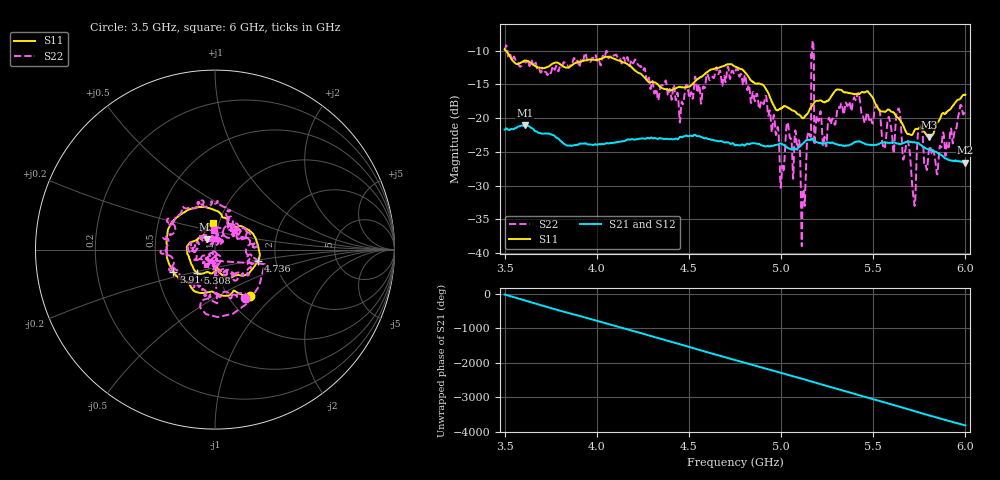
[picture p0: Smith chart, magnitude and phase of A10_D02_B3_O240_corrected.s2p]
! Created with skrf 1.9.0 (http://scikit-rf.org).
# Hz S RI R 50.0
!freq ReS11 ImS11 ReS21 ImS21 ReS12 ImS12 ReS22 ImS22
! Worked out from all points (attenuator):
!   1601 points, 3.5 GHz to 6 GHz, reference 50 ohm
!   highest |S21| = -21.06 dB at 3.609 GHz (marker M1); lowest = -26.6 dB at 6 GHz (marker M2)
!   lowest |S11| = -22.8 dB at 5.802 GHz (marker M3), VSWR 1.16, Z = 45.4 + j5.21 ohm
!   |S11| at or under -10 dB: 3.507 GHz to end of sweep
!   |S22| runs from -39.0 to -8.5 dB; largest |S21 - S12| = 0.00096
!   S11 on the Smith chart (normalised r, x): 3.5 GHz: 1.25, -0.73; 3.914 GHz: 0.61, -0.16; 4.736 GHz: 1.61, -0.22; 5.308 GHz: 0.79, -0.21; 6 GHz: 0.94, +0.28
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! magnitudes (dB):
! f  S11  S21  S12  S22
! 3.5 GHz  -9.8  -21.7  -21.7  -10.0
! 3.609 GHz  -11.5  -21.1  -21.1  -11.6
! 3.914 GHz  -11.6  -23.8  -23.7  -11.3
! 3.917 GHz  -11.6  -23.8  -23.8  -11.1
! 4.213 GHz  -13.0  -23.1  -23.1  -11.5
! 4.334 GHz  -15.1  -23.1  -23.0  -17.3
! 4.736 GHz  -12.1  -23.7  -23.8  -13.0
! 4.75 GHz  -12.4  -24.0  -24.0  -13.2
! 4.914 GHz  -15.5  -24.2  -24.2  -16.8
! 5.005 GHz  -18.4  -23.8  -23.9  -27.6
! 5.034 GHz  -18.4  -24.4  -24.3  -20.6
! 5.088 GHz  -19.4  -24.5  -24.5  -24.7
! 5.12 GHz  -20.0  -23.7  -23.6  -30.5
! 5.167 GHz  -18.2  -23.0  -23.0  -10.6
! 5.236 GHz  -17.6  -23.7  -23.7  -22.8
! 5.308 GHz  -15.8  -23.9  -23.9  -18.4
! 5.584 GHz  -18.7  -23.7  -23.6  -19.8
! 5.639 GHz  -20.1  -23.8  -23.8  -18.6
! 5.719 GHz  -22.1  -23.6  -23.5  -31.9
! 5.753 GHz  -21.4  -23.9  -23.8  -21.7
! 5.802 GHz  -22.8  -24.6  -24.6  -24.8
! 6 GHz  -16.5  -26.6  -26.6  -19.3
